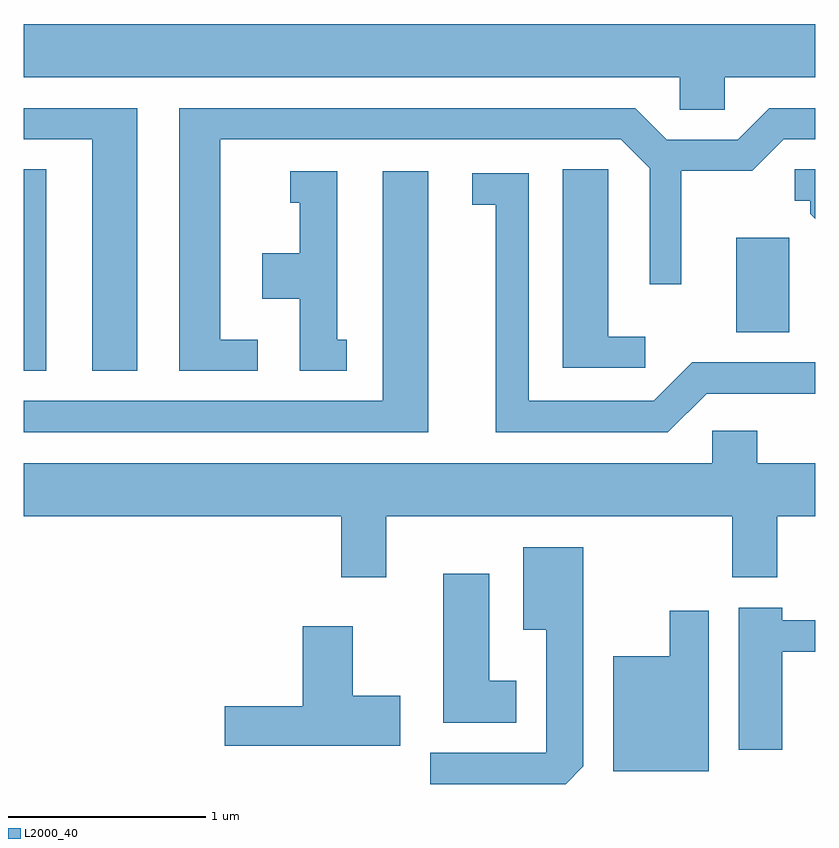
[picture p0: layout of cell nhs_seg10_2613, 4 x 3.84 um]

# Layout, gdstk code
import gdstk
lib = gdstk.Library(unit=1e-6, precision=1e-09)
def R(c, l, rs):  # rectangles x0, y0, x1, y1
    for r in rs: c.add(gdstk.rectangle(r[:2], r[2:], *l))
def P(c, l, *ps):  # polygons
    for p in ps: c.add(gdstk.Polygon(p, *l))
L2000_40 = (2000, 40)

nhs_seg10_2613 = lib.new_cell('nhs_seg10_2613')
R(nhs_seg10_2613, L2000_40, [(261.611,2154.611,261.724,2155.629), (265.211,2154.806,265.479,2155.284)])
P(nhs_seg10_2613, L2000_40, [(265.154,2156.096),(265.611,2156.096),(265.611,2156.364),(261.611,2156.364),(261.611,2156.096),(264.926,2156.096),(264.926,2155.931),(265.154,2155.931)],
  [(262.184,2155.939),(261.611,2155.939),(261.611,2155.781),(261.956,2155.781),(261.956,2154.611),(262.184,2154.611)],
  [(262.793,2154.769),(262.604,2154.769),(262.604,2155.781),(264.629,2155.781),(264.776,2155.634),(264.776,2155.048),(264.934,2155.048),(264.934,2155.621),(265.292,2155.621),(265.452,2155.781),(265.611,2155.781),(265.611,2155.939),(265.379,2155.939),(265.219,2155.779),(264.862,2155.779),(264.702,2155.939),(262.396,2155.939),(262.396,2154.611),(262.793,2154.611)],
  [(264.753,2154.784),(264.564,2154.784),(264.564,2155.629),(264.336,2155.629),(264.336,2154.626),(264.753,2154.626)],
  [(265.611,2155.629),(265.508,2155.629),(265.508,2155.471),(265.586,2155.471),(265.586,2155.404),(265.611,2155.379)],
  [(263.243,2154.769),(263.194,2154.769),(263.194,2155.619),(262.958,2155.619),(262.958,2155.461),(263.006,2155.461),(263.006,2155.204),(262.816,2155.204),(262.816,2154.976),(263.006,2154.976),(263.006,2154.611),(263.243,2154.611)],
  [(263.654,2155.619),(263.426,2155.619),(263.426,2154.459),(261.611,2154.459),(261.611,2154.301),(263.654,2154.301)],
  [(265.062,2154.496),(265.611,2154.496),(265.611,2154.654),(264.989,2154.654),(264.794,2154.459),(264.164,2154.459),(264.164,2155.609),(263.878,2155.609),(263.878,2155.451),(263.996,2155.451),(263.996,2154.301),(264.867,2154.301)],
  [(263.444,2153.876),(265.191,2153.876),(265.191,2153.566),(265.419,2153.566),(265.419,2153.876),(265.611,2153.876),(265.611,2154.144),(265.319,2154.144),(265.319,2154.309),(265.091,2154.309),(265.091,2154.144),(261.611,2154.144),(261.611,2153.876),(263.216,2153.876),(263.216,2153.566),(263.444,2153.566)],
  [(264.439,2152.612),(264.439,2153.719),(264.136,2153.719),(264.136,2153.301),(264.251,2153.301),(264.251,2152.679),(263.666,2152.679),(263.666,2152.522),(264.35,2152.522)],
  [(264.099,2153.044),(263.964,2153.044),(263.964,2153.584),(263.731,2153.584),(263.731,2152.831),(264.099,2152.831)],
  [(265.444,2153.191),(265.611,2153.191),(265.611,2153.349),(265.444,2153.349),(265.444,2153.414),(265.226,2153.414),(265.226,2152.696),(265.444,2152.696)],
  [(265.074,2153.399),(264.876,2153.399),(264.876,2153.169),(264.591,2153.169),(264.591,2152.586),(265.074,2152.586)],
  [(263.514,2152.969),(263.274,2152.969),(263.274,2153.319),(263.021,2153.319),(263.021,2152.914),(262.626,2152.914),(262.626,2152.716),(263.514,2152.716)])

lib.write_gds('nhs_seg10_2613.gds')
